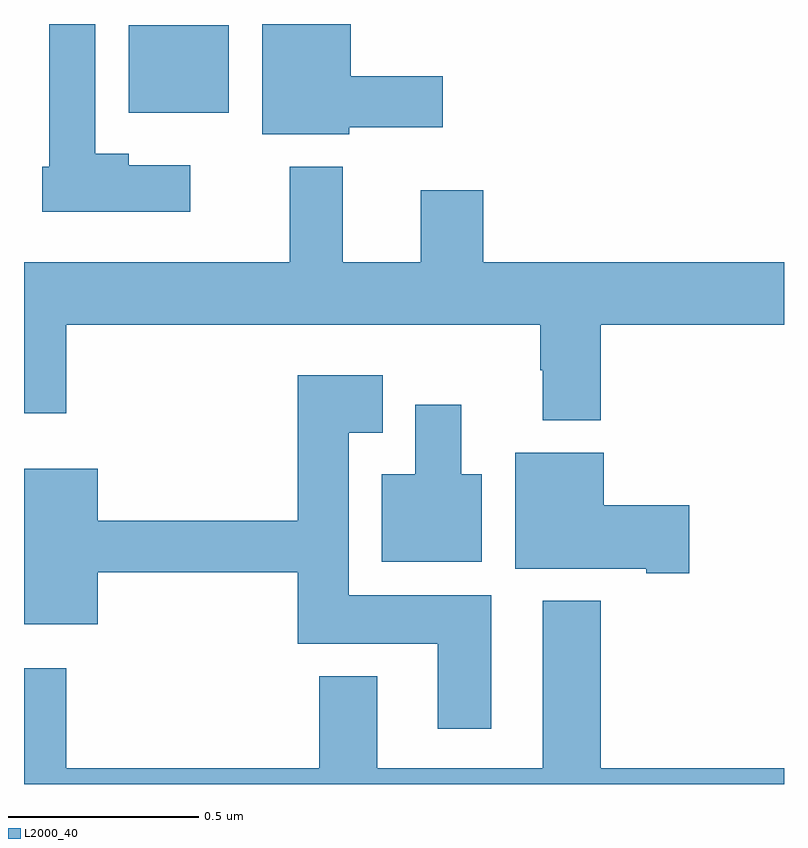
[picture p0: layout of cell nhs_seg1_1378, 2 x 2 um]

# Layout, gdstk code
import gdstk
lib = gdstk.Library(unit=1e-6, precision=1e-09)
def R(c, l, rs):  # rectangles x0, y0, x1, y1
    for r in rs: c.add(gdstk.rectangle(r[:2], r[2:], *l))
def P(c, l, *ps):  # polygons
    for p in ps: c.add(gdstk.Polygon(p, *l))
L2000_40 = (2000, 40)

nhs_seg1_1378 = lib.new_cell('nhs_seg1_1378')
R(nhs_seg1_1378, L2000_40, [(128.276,542.966,128.539,543.196)])
P(nhs_seg1_1378, L2000_40, [(128.856,542.927),(129.102,542.927),(129.102,543.062),(128.86,543.062),(128.86,543.199),(128.627,543.199),(128.627,542.909),(128.856,542.909)],
  [(128.437,542.827),(128.275,542.827),(128.275,542.857),(128.188,542.857),(128.188,543.199),(128.066,543.199),(128.066,542.823),(128.048,542.823),(128.048,542.705),(128.437,542.705)],
  [(129.518,542.408),(130,542.408),(130,542.572),(129.208,542.572),(129.208,542.761),(129.044,542.761),(129.044,542.572),(128.839,542.572),(128.839,542.824),(128.699,542.824),(128.699,542.572),(128,542.572),(128,542.175),(128.111,542.175),(128.111,542.408),(129.358,542.408),(129.358,542.288),(129.365,542.288),(129.365,542.156),(129.518,542.156)],
  [(129.229,541.696),(128.854,541.696),(128.854,542.123),(128.944,542.123),(128.944,542.275),(128.72,542.275),(128.72,541.892),(128.194,541.892),(128.194,542.029),(128,542.029),(128,541.619),(128.194,541.619),(128.194,541.756),(128.72,541.756),(128.72,541.568),(129.089,541.568),(129.089,541.344),(129.229,541.344)],
  [(129.205,542.014),(129.151,542.014),(129.151,542.197),(129.029,542.197),(129.029,542.014),(128.942,542.014),(128.942,541.784),(129.205,541.784)],
  [(129.751,541.932),(129.526,541.932),(129.526,542.071),(129.293,542.071),(129.293,541.766),(129.638,541.766),(129.638,541.754),(129.751,541.754)],
  [(130,541.24),(129.518,541.24),(129.518,541.681),(129.365,541.681),(129.365,541.24),(128.929,541.24),(128.929,541.483),(128.777,541.483),(128.777,541.24),(128.111,541.24),(128.111,541.504),(128,541.504),(128,541.199),(130,541.199)])

lib.write_gds('nhs_seg1_1378.gds')
